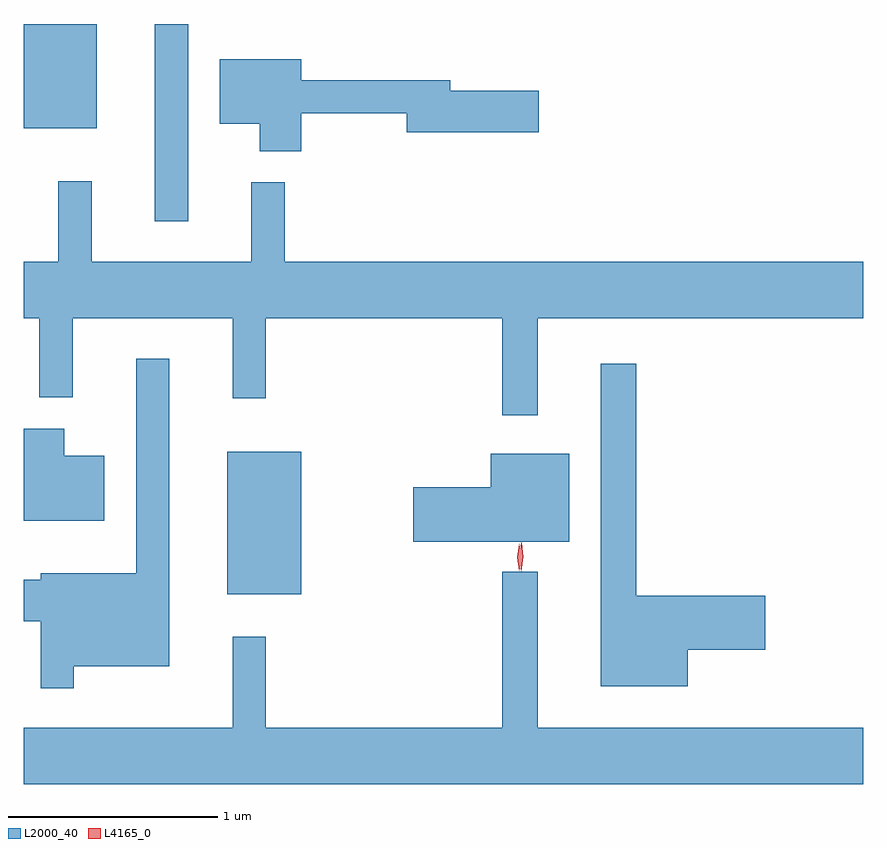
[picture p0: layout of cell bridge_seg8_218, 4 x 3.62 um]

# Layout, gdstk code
import gdstk
lib = gdstk.Library(unit=1e-6, precision=1e-09)
def R(c, l, rs):  # rectangles x0, y0, x1, y1
    for r in rs: c.add(gdstk.rectangle(r[:2], r[2:], *l))
def P(c, l, *ps):  # polygons
    for p in ps: c.add(gdstk.Polygon(p, *l))
L2000_40 = (2000, 40)
L4165_0 = (4165, 0)

bridge_seg8_218 = lib.new_cell('bridge_seg8_218')
R(bridge_seg8_218, L2000_40, [(1064.671,1937.221,1065.024,1937.899), (1064.326,1938.998,1064.484,1939.937), (1063.701,1939.441,1064.049,1939.937)])
P(bridge_seg8_218, L2000_40, [(1065.024,1939.511),(1065.526,1939.511),(1065.526,1939.421),(1066.154,1939.421),(1066.154,1939.619),(1065.734,1939.619),(1065.734,1939.669),(1065.024,1939.669),(1065.024,1939.769),(1064.636,1939.769),(1064.636,1939.461),(1064.826,1939.461),(1064.826,1939.331),(1065.024,1939.331)],
  [(1066.149,1938.536),(1067.701,1938.536),(1067.701,1938.804),(1064.944,1938.804),(1064.944,1939.183),(1064.786,1939.183),(1064.786,1938.804),(1064.024,1938.804),(1064.024,1939.188),(1063.866,1939.188),(1063.866,1938.804),(1063.701,1938.804),(1063.701,1938.536),(1063.776,1938.536),(1063.776,1938.158),(1063.934,1938.158),(1063.934,1938.536),(1064.696,1938.536),(1064.696,1938.153),(1064.854,1938.153),(1064.854,1938.536),(1065.981,1938.536),(1065.981,1938.073),(1066.149,1938.073)],
  [(1063.939,1936.876),(1064.394,1936.876),(1064.394,1938.343),(1064.236,1938.343),(1064.236,1937.319),(1063.781,1937.319),(1063.781,1937.289),(1063.701,1937.289),(1063.701,1937.091),(1063.781,1937.091),(1063.781,1936.773),(1063.939,1936.773)],
  [(1066.864,1936.956),(1067.234,1936.956),(1067.234,1937.214),(1066.619,1937.214),(1066.619,1938.318),(1066.451,1938.318),(1066.451,1936.781),(1066.864,1936.781)],
  [(1064.084,1937.879),(1063.894,1937.879),(1063.894,1938.009),(1063.701,1938.009),(1063.701,1937.571),(1064.084,1937.571)],
  [(1066.299,1937.889),(1065.926,1937.889),(1065.926,1937.729),(1065.556,1937.729),(1065.556,1937.471),(1066.299,1937.471)],
  [(1067.701,1936.584),(1066.149,1936.584),(1066.149,1937.328),(1065.981,1937.328),(1065.981,1936.584),(1064.854,1936.584),(1064.854,1937.018),(1064.696,1937.018),(1064.696,1936.584),(1063.701,1936.584),(1063.701,1936.316),(1067.701,1936.316)])
P(bridge_seg8_218, L4165_0, [(1066.062,1937.333),(1066.062,1937.333),(1066.052,1937.396),(1066.062,1937.459),(1066.062,1937.46),(1066.062,1937.459),(1066.072,1937.396),(1066.062,1937.333)],
  [(1066.072,1937.329),(1066.071,1937.33),(1066.062,1937.398),(1066.072,1937.465),(1066.073,1937.466),(1066.073,1937.465),(1066.082,1937.398),(1066.072,1937.33)])

lib.write_gds('bridge_seg8_218.gds')
